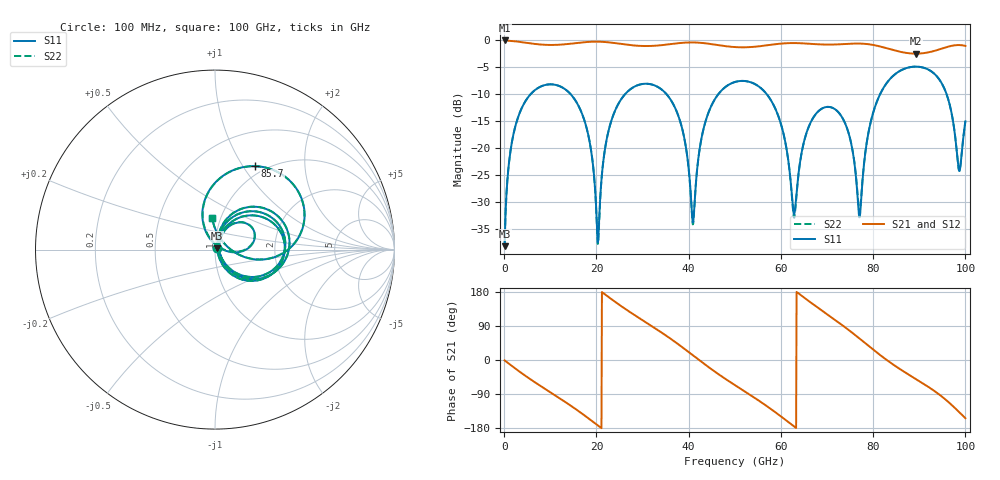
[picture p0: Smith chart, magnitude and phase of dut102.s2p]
! Touchstone file exported from HFSS 2026.1.0
!  File:  C:/ffzhzh/LocalFiles/Ansys_Project_Files/temp_train_TSV_RDL_102_1783633477_26216.aedt
!  Generated:  05:51:02 AM Jul 10, 2026
!  Design:  TSV_RDL
!  Project:  temp_train_TSV_RDL_102_1783633477_26216
! Variables:
!  h_bsmrdl = 4.84um
!  h_ox = 20um
!  h_rdl = 5um
!  h_sub = 69.35um
!  h_tmrdl = 2.89um
!  h_tsv = 69.35um
!  h_via = 3um
!  l_bsmrdl = 386.82um
!  l_sub = 2864.29um
!  l_tmrdl = 285.96um
!  m_sub = 200um
!  pitch = 50.24um
!  r_tsv = 13.53um
!  s_tmrdl = 10um
!  w_bsmrdl = 25.54um
!  w_sub = 500um
!  w_tmrdl = 27.79um
!  x_tsv_center1 = 299.855um
!  x_tsv_center2 = 712.215um
!  x_tsv_center3 = 1025.965um
!  x_tsv_center4 = 1438.325um
!  x_tsv_center5 = 1752.075um
!  x_tsv_center6 = 2164.435um
# GHz S MA R 50.000000
! Terminal data exported
! Port[1] = TM_RDL1_1_T1
! Port[2] = TM_RDL5_1_T1
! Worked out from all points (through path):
!   1000 points, 100 MHz to 100 GHz, reference 50 ohm
!   highest |S21| = -0.08 dB at 100 MHz (marker M1); lowest = -2.5 dB at 89.3 GHz (marker M2)
!   group delay of S21, straight-line fit = 24 ps
!   lowest |S11| = -38.1 dB at 100 MHz (marker M3), VSWR 1.03, Z = 51 + j0.78 ohm
!   |S11| at or under -10 dB: 14.39 GHz to 26.24 GHz (11.84 GHz wide, 58.3 % of centre); 35.18 GHz to 46.45 GHz (11.27 GHz wide, 27.6 % of centre); 56.91 GHz to 81.52 GHz (24.61 GHz wide, 35.6 % of centre) (the widest 3 of 5)
!   |S22| runs from -38.1 to -4.9 dB; largest |S21 - S12| = 3.2e-14
!   S11 on the Smith chart (normalised r, x): 100 MHz: 1.02, +0.02; 85.7 GHz: 0.89, +1.13; 100 GHz: 0.91, +0.33
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0.1  0.0124 38.1  0.9903 -1.0  0.9903 -1.0  0.0124 38.1
! Gamma 0 0 0 0
! Port Impedance 50 0 50 0
1.7  0.1149 67.0  0.9793 -15.9  0.9793 -15.9  0.1149 67.0
4.9  0.2839 42.2  0.9405 -44.2  0.9405 -44.2  0.2839 42.2
16.8  0.2126 -49.7  0.9487 -140.8  0.9487 -140.8  0.2127 -49.8
20.3  0.01345 -3.2  0.9655 -172.5  0.9655 -172.5  0.013 -3.8
24.2  0.2299 57.9  0.9345 152.3  0.9345 152.3  0.2298 58.0
33.4  0.3664 -11.8  0.8896 78.3  0.8896 78.3  0.3663 -11.8
38.3  0.1689 -48.5  0.939 36.6  0.939 36.6  0.1688 -48.7
40.9  0.02054 5.5  0.9496 12.6  0.9496 12.6  0.01971 5.6
44  0.1966 67.4  0.9279 -16.0  0.9279 -16.0  0.1966 67.7
50.1  0.4097 21.5  0.8599 -66.8  0.8599 -66.8  0.4098 21.7
58.7  0.2364 -42.8  0.9132 -137.0  0.9132 -137.0  0.2365 -42.9
62.9  0.02453 9.2  0.937 -175.7  0.937 -175.7  0.02268 9.3
66.7  0.1816 53.4  0.92 149.7  0.92 149.7  0.1812 54.2
73.3  0.1916 3.7  0.9152 92.0  0.9152 92.0  0.1918 4.7
77.1  0.02305 62.3  0.9269 56.2  0.9269 56.2  0.02557 61.2
83.4  0.4239 82.2  0.828 -4.0  0.828 -4.0  0.4236 82.1
85.7  0.5151 64.5  0.7807 -23.1  0.7807 -23.1  0.5147 64.5
89.3  0.5675 39.1  0.7482 -50.5  0.7482 -50.5  0.5671 39.2
95.4  0.3586 -5.1  0.8458 -101.4  0.8458 -101.4  0.3583 -4.9
98.6  0.06248 30.4  0.8982 -136.9  0.8982 -136.9  0.06266 30.8
100  0.177 95.1  0.8817 -153.6  0.8817 -153.6  0.1772 95.2
